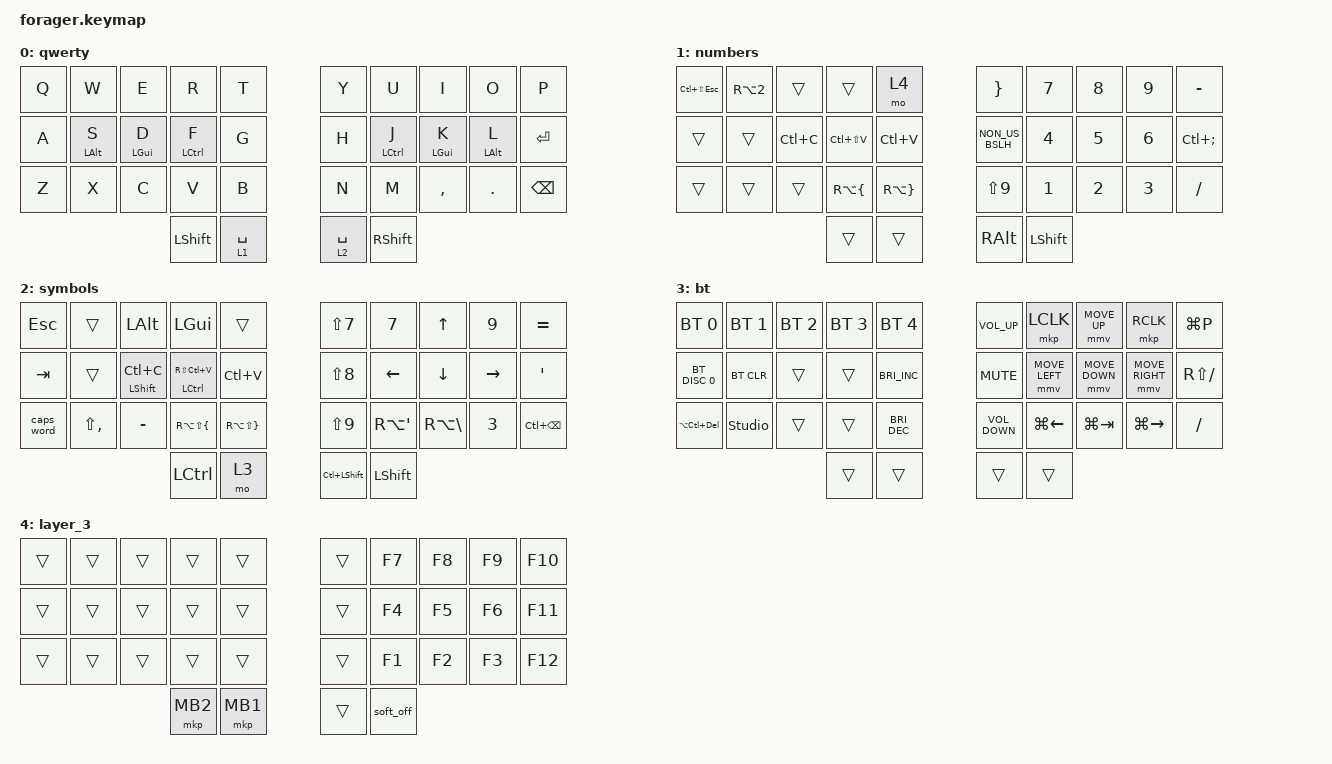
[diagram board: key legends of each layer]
/*
 * Copyright (c) 2020 duckyb
 *
 * SPDX-License-Identifier: MIT
 */

#include <behaviors/rgbled_widget.dtsi>
#include <behaviors.dtsi>
#include <dt-bindings/zmk/bt.h>
#include <dt-bindings/zmk/keys.h>
#include <dt-bindings/zmk/pointing.h>

&mt {
    quick-tap-ms = <125>;
    flavor = "tap-preferred";
};

/ {
    conditional_layers { compatible = "zmk,conditional-layers"; };

    combos {
        compatible = "zmk,combos";

        th {
            bindings = <&TH_THE>;
            key-positions = <4 15>;
        };

        yu_you {
            bindings = <&yu_you>;
            key-positions = <5 6>;
        };

        an_and {
            bindings = <&an_and>;
            key-positions = <10 25>;
        };

        cn_can {
            bindings = <&cn_can>;
            key-positions = <22 25>;
        };
    };

    macros {
        TH_THE: TH_THE {
            compatible = "zmk,behavior-macro";
            #binding-cells = <0>;
            bindings = <&kp T &kp H &kp E>;
            label = "TH_THE";
        };

        yu_you: yu_you {
            compatible = "zmk,behavior-macro";
            #binding-cells = <0>;
            bindings = <&kp Y &kp O &kp U>;
            label = "YU_YOU";
        };

        an_and: an_and {
            compatible = "zmk,behavior-macro";
            #binding-cells = <0>;
            bindings = <&kp A &kp N &kp D>;
            label = "AN_AND";
        };

        cn_can: cn_can {
            compatible = "zmk,behavior-macro";
            #binding-cells = <0>;
            bindings = <&kp C &kp A &kp N>;
            label = "CN_CAN";
        };
    };

    keymap {
        compatible = "zmk,keymap";

        qwerty {
            bindings = <
  &kp Q  &kp W           &kp E           &kp R               &kp T          &kp Y        &kp U               &kp I           &kp O           &kp P
  &kp A  &mt LEFT_ALT S  &mt LEFT_GUI D  &mt LEFT_CONTROL F  &kp G          &kp H        &mt LEFT_CONTROL J  &mt LEFT_GUI K  &mt LEFT_ALT L  &kp RET
  &kp Z  &kp X           &kp C           &kp V               &kp B          &kp N        &kp M               &kp COMMA       &kp PERIOD      &kp BSPC
                                         &kp LEFT_SHIFT      &lt 1 SPACE    &lt 2 SPACE  &kp RIGHT_SHIFT
            >;
        };

        numbers {
            bindings = <
  &kp LC(LS(ESCAPE))  &kp RA(NUMBER_2)  &trans     &trans              &mo 4                  &kp RIGHT_BRACE   &kp N7          &kp N8  &kp N9  &kp MINUS
  &trans              &trans            &kp LC(C)  &kp LC(LS(V))       &kp LC(V)              &kp NON_US_BSLH   &kp N4          &kp N5  &kp N6  &kp LC(SEMI)
  &trans              &trans            &trans     &kp RA(LEFT_BRACE)  &kp RA(RIGHT_BRACE)    &kp LS(NUMBER_9)  &kp N1          &kp N2  &kp N3  &kp SLASH
                                                   &trans              &trans                 &kp RALT          &kp LEFT_SHIFT
            >;
        };

        symbols {
            bindings = <
  &kp ESCAPE  &trans         &kp LEFT_ALT          &kp LEFT_GUI                &trans                     &kp LS(N7)        &kp N7          &kp UP_ARROW    &kp N9           &kp EQUAL
  &kp TAB     &trans         &mt LEFT_SHIFT LC(C)  &mt LEFT_CONTROL RS(LC(V))  &kp LC(V)                  &kp LS(NUMBER_8)  &kp LEFT        &kp DOWN_ARROW  &kp RIGHT_ARROW  &kp SQT
  &caps_word  &kp LS(COMMA)  &kp MINUS             &kp RA(LS(LEFT_BRACE))      &kp RA(LS(RIGHT_BRACE))    &kp LS(NUMBER_9)  &kp RA(SQT)     &kp RA(BSLH)    &kp N3           &kp LC(BSPC)
                                                   &kp LEFT_CONTROL            &mo 3                      &kp LC(LSHFT)     &kp LEFT_SHIFT
            >;
        };

        bt {
            bindings = <
  &bt BT_SEL 0        &bt BT_SEL 1    &bt BT_SEL 2  &bt BT_SEL 3  &bt BT_SEL 4            &kp C_VOLUME_UP    &mkp LCLK           &mmv MOVE_UP    &mkp RCLK        &kp LG(P)
  &bt BT_DISC 0       &bt BT_CLR      &trans        &trans        &kp C_BRIGHTNESS_INC    &kp K_MUTE         &mmv MOVE_LEFT      &mmv MOVE_DOWN  &mmv MOVE_RIGHT  &kp RS(SLASH)
  &kp LA(LC(DELETE))  &studio_unlock  &trans        &trans        &kp C_BRIGHTNESS_DEC    &kp C_VOLUME_DOWN  &kp LG(LEFT_ARROW)  &kp LG(TAB)     &kp LG(RIGHT)    &kp SLASH
                                                    &trans        &trans                  &trans             &trans
            >;
        };

        layer_3 {
            bindings = <
  &trans  &trans  &trans  &trans    &trans      &trans  &kp F7     &kp F8  &kp F9  &kp F10
  &trans  &trans  &trans  &trans    &trans      &trans  &kp F4     &kp F5  &kp F6  &kp F11
  &trans  &trans  &trans  &trans    &trans      &trans  &kp F1     &kp F2  &kp F3  &kp F12
                          &mkp MB2  &mkp MB1    &trans  &soft_off
            >;
        };
    };
};
